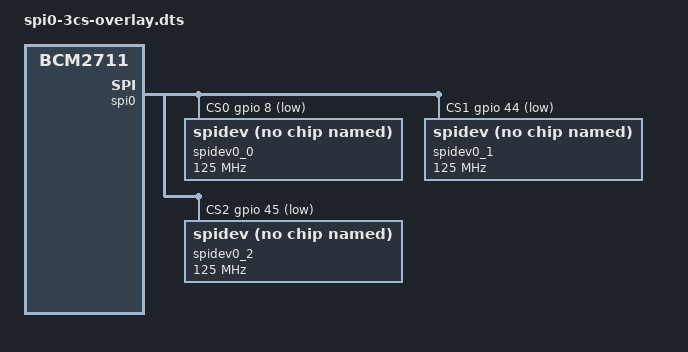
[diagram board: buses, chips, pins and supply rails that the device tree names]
/dts-v1/;
/plugin/;


/ {
	compatible = "brcm,bcm2711";

	fragment@0 {
		target = <&spi0_cs_pins>;
		frag0: __overlay__ {
			brcm,pins = <8 44 45>;
			brcm,function = <1>; /* output */
		};
	};

	fragment@1 {
		target = <&spi0>;
		frag1: __overlay__ {
			/* needed to avoid dtc warning */
			#address-cells = <1>;
			#size-cells = <0>;

			cs-gpios = <&gpio 8 1>, <&gpio 44 1>, <&gpio 45 1>;
			status = "okay";

			spidev0_0: spidev@0 {
				compatible = "spidev";
				reg = <0>;      /* CE0 */
				#address-cells = <1>;
				#size-cells = <0>;
				spi-max-frequency = <125000000>;
				status = "okay";
			};

			spidev0_1: spidev@1 {
				compatible = "spidev";
				reg = <1>;      /* CE1 */
				#address-cells = <1>;
				#size-cells = <0>;
				spi-max-frequency = <125000000>;
				status = "okay";
			};

			spidev0_2: spidev@2 {
				compatible = "spidev";
				reg = <2>;      /* CE2 */
				#address-cells = <1>;
				#size-cells = <0>;
				spi-max-frequency = <125000000>;
				status = "okay";
			};
		};
	};
};
